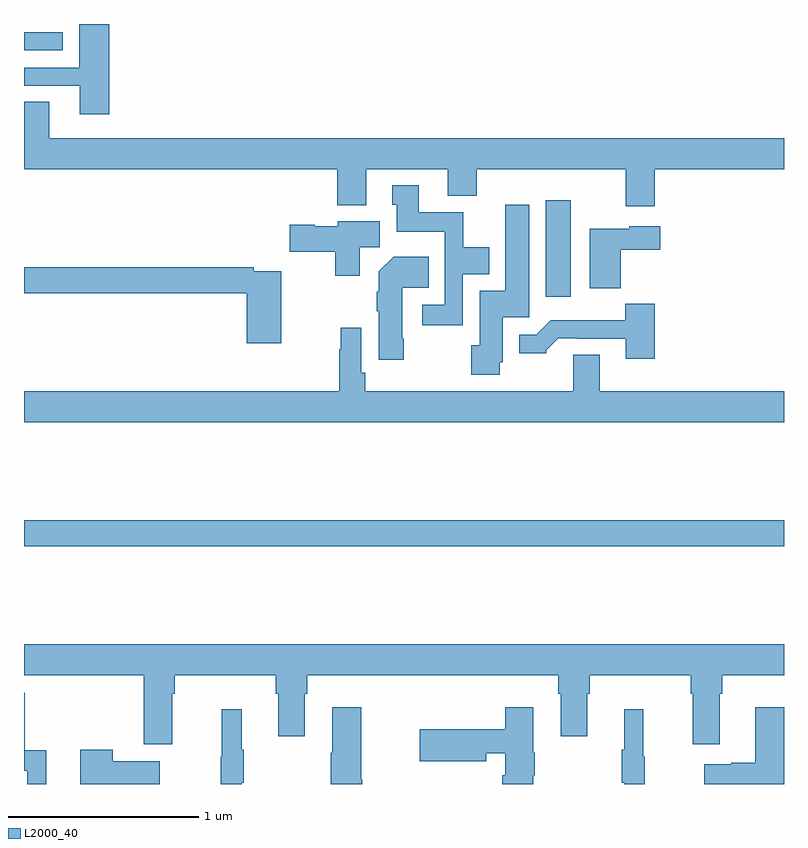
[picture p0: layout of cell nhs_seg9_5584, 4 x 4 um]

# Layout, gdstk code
import gdstk
lib = gdstk.Library(unit=1e-6, precision=1e-09)
def R(c, l, rs):  # rectangles x0, y0, x1, y1
    for r in rs: c.add(gdstk.rectangle(r[:2], r[2:], *l))
def P(c, l, *ps):  # polygons
    for p in ps: c.add(gdstk.Polygon(p, *l))
L2000_40 = (2000, 40)

nhs_seg9_5584 = lib.new_cell('nhs_seg9_5584')
R(nhs_seg9_5584, L2000_40, [(435,1211.752,439,1211.888), (437.747,1213.065,437.878,1213.573), (435,1214.361,435.205,1214.457)])
P(nhs_seg9_5584, L2000_40, [(435.449,1214.5),(435.29,1214.5),(435.29,1214.271),(435,1214.271),(435,1214.175),(435.293,1214.175),(435.293,1214.025),(435.449,1214.025)],
  [(438.32,1213.736),(439,1213.736),(439,1213.9),(435.133,1213.9),(435.133,1214.09),(435,1214.09),(435,1213.736),(436.649,1213.736),(436.649,1213.547),(436.801,1213.547),(436.801,1213.736),(437.231,1213.736),(437.231,1213.595),(437.384,1213.595),(437.384,1213.736),(438.167,1213.736),(438.167,1213.542),(438.32,1213.542)],
  [(437.31,1213.184),(437.449,1213.184),(437.449,1213.324),(437.313,1213.324),(437.313,1213.51),(437.077,1213.51),(437.077,1213.651),(436.937,1213.651),(436.937,1213.548),(436.961,1213.548),(436.961,1213.406),(437.214,1213.406),(437.214,1213.023),(437.097,1213.023),(437.097,1212.915),(437.31,1212.915)],
  [(437.505,1212.72),(437.521,1212.72),(437.521,1212.957),(437.659,1212.957),(437.659,1213.549),(437.534,1213.549),(437.534,1213.096),(437.399,1213.096),(437.399,1212.81),(437.353,1212.81),(437.353,1212.654),(437.505,1212.654)],
  [(436.768,1213.324),(436.873,1213.324),(436.873,1213.462),(436.65,1213.462),(436.65,1213.435),(436.53,1213.435),(436.53,1213.443),(436.398,1213.443),(436.398,1213.301),(436.639,1213.301),(436.639,1213.176),(436.768,1213.176)],
  [(438.14,1213.313),(438.349,1213.313),(438.349,1213.435),(438.186,1213.435),(438.186,1213.423),(437.978,1213.423),(437.978,1213.109),(438.14,1213.109)],
  [(436.998,1212.844),(436.99,1212.844),(436.99,1213.112),(437.129,1213.112),(437.129,1213.276),(436.946,1213.276),(436.868,1213.198),(436.868,1213.091),(436.856,1213.091),(436.856,1212.988),(436.868,1212.988),(436.868,1212.732),(436.998,1212.732)],
  [(436.355,1213.2),(436.208,1213.2),(436.208,1213.22),(435,1213.22),(435,1213.084),(436.172,1213.084),(436.172,1212.819),(436.355,1212.819)],
  [(438.32,1213.027),(438.165,1213.027),(438.165,1212.94),(437.773,1212.94),(437.697,1212.864),(437.606,1212.864),(437.606,1212.767),(437.748,1212.767),(437.748,1212.782),(437.812,1212.846),(437.911,1212.846),(437.911,1212.843),(438.167,1212.843),(438.167,1212.738),(438.32,1212.738)],
  [(439,1212.568),(438.031,1212.568),(438.031,1212.758),(437.891,1212.758),(437.891,1212.568),(436.796,1212.568),(436.796,1212.664),(436.776,1212.664),(436.776,1212.901),(436.668,1212.901),(436.668,1212.788),(436.66,1212.788),(436.66,1212.568),(435,1212.568),(435,1212.404),(439,1212.404)],
  [(435.781,1210.976),(435.794,1210.976),(435.794,1211.072),(436.325,1211.072),(436.325,1210.976),(436.337,1210.976),(436.337,1210.752),(436.477,1210.752),(436.477,1210.976),(436.49,1210.976),(436.49,1211.072),(437.813,1211.072),(437.813,1210.976),(437.825,1210.976),(437.825,1210.752),(437.965,1210.752),(437.965,1210.976),(437.978,1210.976),(437.978,1211.072),(438.509,1211.072),(438.509,1210.976),(438.521,1210.976),(438.521,1210.71),(438.661,1210.71),(438.661,1210.976),(438.674,1210.976),(438.674,1211.072),(439,1211.072),(439,1211.236),(435,1211.236),(435,1211.072),(435.629,1211.072),(435.629,1210.71),(435.781,1210.71)],
  [(435.116,1210.678),(435.005,1210.678),(435.005,1210.98),(435,1210.98),(435,1210.569),(435.018,1210.569),(435.018,1210.5),(435.116,1210.5)],
  [(439,1210.903),(438.848,1210.903),(438.848,1210.613),(438.722,1210.613),(438.722,1210.603),(438.579,1210.603),(438.579,1210.5),(439,1210.5)],
  [(436.781,1210.523),(436.776,1210.523),(436.776,1210.903),(436.622,1210.903),(436.622,1210.664),(436.615,1210.664),(436.615,1210.5),(436.781,1210.5)],
  [(437.68,1210.545),(437.688,1210.545),(437.688,1210.665),(437.68,1210.665),(437.68,1210.903),(437.534,1210.903),(437.534,1210.789),(437.082,1210.789),(437.082,1210.619),(437.434,1210.619),(437.434,1210.662),(437.534,1210.662),(437.534,1210.545),(437.516,1210.545),(437.516,1210.5),(437.68,1210.5)],
  [(436.145,1210.507),(436.156,1210.507),(436.156,1210.681),(436.145,1210.681),(436.145,1210.894),(436.042,1210.894),(436.042,1210.644),(436.035,1210.644),(436.035,1210.5),(436.145,1210.5)],
  [(438.268,1210.644),(438.26,1210.644),(438.26,1210.894),(438.158,1210.894),(438.158,1210.681),(438.147,1210.681),(438.147,1210.507),(438.158,1210.507),(438.158,1210.5),(438.268,1210.5)],
  [(435.715,1210.621),(435.467,1210.621),(435.467,1210.681),(435.296,1210.681),(435.296,1210.5),(435.715,1210.5)])

lib.write_gds('nhs_seg9_5584.gds')
